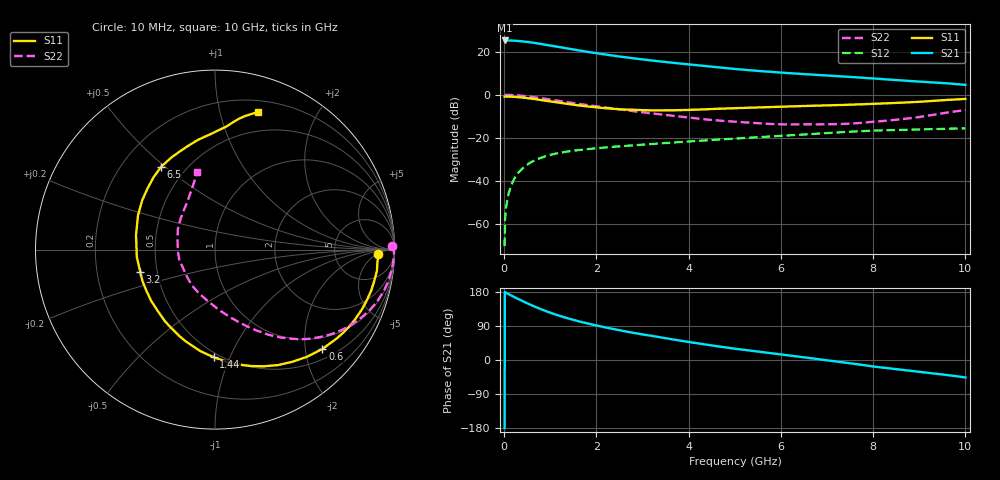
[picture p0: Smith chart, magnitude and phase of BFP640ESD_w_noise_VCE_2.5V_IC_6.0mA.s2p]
! Infineon Technologies  Discrete & RF Semiconductors
! BFP640ESD
! VCE =  2.5 V,  IC =  6.0 mA
! Common Emitter S-Parameters:  Jan 2016
# GHz  S  MA  R  50
!  f  S11  S21  S12  S22
! GHz  MAG  ANG  MAG  ANG  MAG  ANG  MAG  ANG
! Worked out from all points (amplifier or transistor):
!   233 points, 10 MHz to 10 GHz, reference 50 ohm
!   highest |S21| = 25.3 dB at 10 MHz (marker M1)
!   |S21| within 3 dB of that: start of sweep to 1.177 GHz
!   unconditionally stable (mu >= 1): start of sweep to 10.48 MHz; 4.599 GHz to 9.036 GHz
!   at 200 MHz: K = 0.06, MSG = 32.6 dB, |S12| = -39.9 dB
!   at 1.74 GHz: K = 0.52, MSG = 22.8 dB, |S12| = -25.4 dB
!   at 10 GHz: K = 0.84, MSG = 10.1 dB, |S12| = -15.6 dB
!   lowest NFmin = 0.60 dB at 450 MHz
!   S11 on the Smith chart (normalised r, x): 10 MHz: 20, -5; 600 MHz: 0.72, -2.37; 1.44 GHz: 0.47, -0.87; 3.2 GHz: 0.40, -0.12; 6.5 GHz: 0.37, +0.49; 10 GHz: 0.30, +1.31
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0.01  0.9103 -1.4  18.43 -179.9  0.0003 33.1  0.9863 1.1
0.02  0.9118 -1.7  18.34 179.2  0.0013 88.1  0.998 -0.7
0.07  0.908 -5.3  18.34 175.5  0.0037 85.0  0.9958 -3.2
0.175  0.9014 -13.0  18.29 169.2  0.0088 82.5  0.9877 -7.9
0.3  0.8843 -22.0  17.96 161.4  0.0149 77.4  0.9695 -13.5
0.46  0.85 -33.3  17.25 151.9  0.022 71.3  0.9335 -20.1
0.6  0.8152 -42.8  16.48 143.9  0.0276 66.3  0.8942 -25.6
0.8  0.7598 -55.3  15.27 133.9  0.0344 60.2  0.8353 -32.5
1  0.7048 -67.3  14.07 124.8  0.04 55.1  0.7743 -38.6
1.2  0.6536 -78.4  12.93 116.6  0.0447 50.9  0.7177 -43.9
1.44  0.5997 -90.6  11.64 108.0  0.049 47.0  0.655 -49.3
1.68  0.5558 -101.9  10.55 100.2  0.0527 43.9  0.6018 -54.0
2  0.5104 -115.8  9.294 91.1  0.0571 41.0  0.5418 -59.4
2.4  0.468 -132.8  8.067 80.9  0.0622 38.0  0.4742 -66.2
3.2  0.4343 -163.6  6.296 63.7  0.0717 33.9  0.3699 -79.8
3.4  0.4348 -170.7  5.957 59.5  0.0742 33.1  0.3494 -83.6
4  0.4473 169.7  5.113 47.5  0.0823 30.5  0.2952 -96.3
5.1  0.4925 144.3  3.919 28.4  0.097 24.6  0.233 -124.9
6.5  0.5509 122.9  3.039 7.0  0.1192 16.8  0.2069 -164.4
6.8  0.5601 118.2  2.9 2.4  0.1248 14.6  0.2055 -172.1
8.4  0.6415 92.7  2.233 -22.8  0.1508 -0.6  0.2565 138.5
10  0.803 72.7  1.704 -46.1  0.1659 -14.8  0.4446 102.7
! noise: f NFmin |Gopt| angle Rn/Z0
0.45  0.6  0.35  10  0.12
0.9  0.62  0.33  22  0.12
1.9  0.67  0.26  44  0.12
2.4  0.71  0.22  60  0.11
5.5  1.06  0.33  -140  0.13
10  2  0.62  -82  0.81
